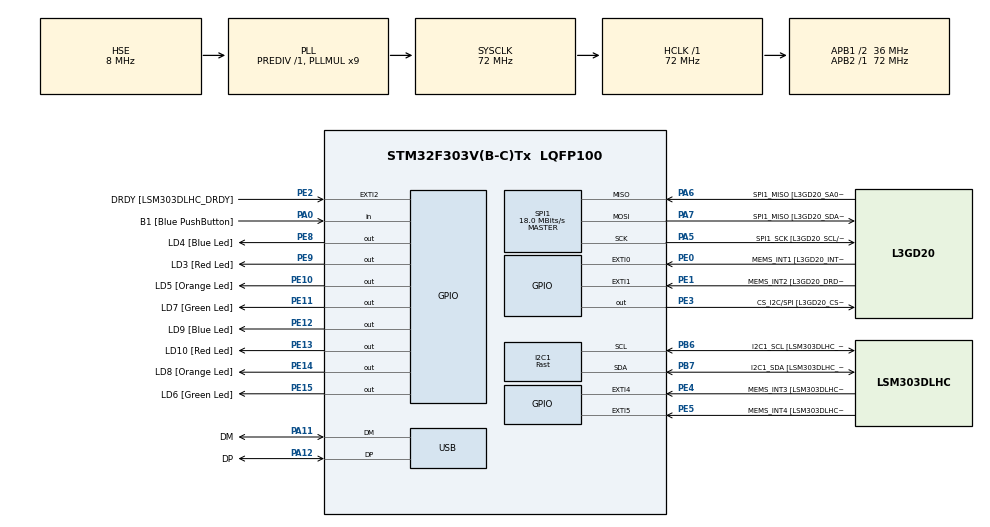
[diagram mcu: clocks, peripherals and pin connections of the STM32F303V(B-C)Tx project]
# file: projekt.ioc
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I2C1.I2C_Speed_Mode=I2C_Fast
I2C1.Timing=0x0000020B
I2C1.Timing-I2C=0x2000090E
Mcu.Family=STM32F3
Mcu.Name=STM32F303V(B-C)Tx
Mcu.Package=LQFP100
NVIC.PriorityGroup=NVIC_PRIORITYGROUP_0
NVIC.USB_LP_CAN_RX0_IRQn=true\:0\:0\:false\:false\:true\:false\:true
PA0.GPIO_Label=B1 [Blue PushButton]
PA0.Signal=GPIO_Input
PA11.GPIO_Label=DM
PA11.Mode=Device
PA11.Signal=USB_DM
PA12.GPIO_Label=DP
PA12.Mode=Device
PA12.Signal=USB_DP
PA13.GPIO_Label=SWDIO
PA13.Mode=Serial_Wire
PA13.Signal=SYS_JTMS-SWDIO
PA14.GPIO_Label=SWCLK
PA14.Mode=Serial_Wire
PA14.Signal=SYS_JTCK-SWCLK
PA5.GPIO_Label=SPI1_SCK [L3GD20_SCL/SPC]
PA5.Mode=Full_Duplex_Master
PA5.Signal=SPI1_SCK
PA6.GPIO_Label=SPI1_MISO [L3GD20_SA0/SDO]
PA6.Mode=Full_Duplex_Master
PA6.Signal=SPI1_MISO
PA7.GPIO_Label=SPI1_MISO [L3GD20_SDA/SDI/SDO]
PA7.Mode=Full_Duplex_Master
PA7.Signal=SPI1_MOSI
PB3.GPIO_Label=SWO
PB3.Signal=SYS_JTDO-TRACESWO
PB6.GPIO_Label=I2C1_SCL [LSM303DLHC_SCL]
PB6.Mode=I2C
PB6.Signal=I2C1_SCL
PB7.GPIO_Label=I2C1_SDA [LSM303DLHC_SDA]
PB7.Mode=I2C
PB7.Signal=I2C1_SDA
PC14-OSC32_IN.GPIO_Label=OSC32_IN
PC14-OSC32_IN.Signal=RCC_OSC32_IN
PC15-OSC32_OUT.GPIO_Label=OSC32_OUT
PC15-OSC32_OUT.Signal=RCC_OSC32_OUT
PE0.GPIO_Label=MEMS_INT1 [L3GD20_INT1]
PE0.GPIO_ModeDefaultEXTI=GPIO_MODE_EVT_RISING
PE0.Signal=GPXTI0
PE1.GPIO_Label=MEMS_INT2 [L3GD20_DRDY/INT2]
PE1.GPIO_ModeDefaultEXTI=GPIO_MODE_EVT_RISING
PE1.Signal=GPXTI1
PE10.GPIO_Label=LD5 [Orange Led]
PE10.Signal=GPIO_Output
PE11.GPIO_Label=LD7 [Green Led]
PE11.Signal=GPIO_Output
PE12.GPIO_Label=LD9 [Blue Led]
PE12.Signal=GPIO_Output
PE13.GPIO_Label=LD10 [Red Led]
PE13.Signal=GPIO_Output
PE14.GPIO_Label=LD8 [Orange Led]
PE14.Signal=GPIO_Output
PE15.GPIO_Label=LD6 [Green Led]
PE15.Signal=GPIO_Output
PE2.GPIO_Label=DRDY [LSM303DLHC_DRDY]
PE2.GPIO_ModeDefaultEXTI=GPIO_MODE_EVT_RISING
PE2.Signal=GPXTI2
PE3.GPIO_Label=CS_I2C/SPI [L3GD20_CS_I2C/SPI]
PE3.Signal=GPIO_Output
PE4.GPIO_Label=MEMS_INT3 [LSM303DLHC_INT1]
PE4.GPIO_ModeDefaultEXTI=GPIO_MODE_EVT_RISING
PE4.Signal=GPXTI4
PE5.GPIO_Label=MEMS_INT4 [LSM303DLHC_INT2]
PE5.GPIO_ModeDefaultEXTI=GPIO_MODE_EVT_RISING
PE5.Signal=GPXTI5
PE8.GPIO_Label=LD4 [Blue Led]
PE8.Signal=GPIO_Output
PE9.GPIO_Label=LD3 [Red Led]
PE9.Signal=GPIO_Output
PF0-OSC_IN.GPIO_Label=OSC_IN
PF0-OSC_IN.Mode=HSE-External-Clock-Source
PF0-OSC_IN.Signal=RCC_OSC_IN
PF1-OSC_OUT.GPIO_Label=OSC_OUT
PF1-OSC_OUT.Signal=RCC_OSC_OUT
ProjectManager.HeapSize=0x200
ProjectManager.StackSize=0x400
ProjectManager.TargetToolchain=STM32CubeIDE
RCC.AHBFreq_Value=72000000
RCC.APB1CLKDivider=RCC_HCLK_DIV2
RCC.APB1Freq_Value=36000000
RCC.APB1TimFreq_Value=72000000
RCC.APB2Freq_Value=72000000
RCC.APB2TimFreq_Value=72000000
RCC.CortexFreq_Value=72000000
RCC.HCLKFreq_Value=72000000
RCC.HSE_VALUE=8000000
RCC.HSI_VALUE=8000000
RCC.LSE_VALUE=32768
RCC.PLLMUL=RCC_PLL_MUL9
RCC.PRESCALERUSB=RCC_USBCLKSOURCE_PLL_DIV1_5
RCC.SYSCLKFreq_VALUE=72000000
RCC.SYSCLKSourceVirtual=RCC_SYSCLKSOURCE_PLLCLK
RCC.USBFreq_Value=48000000
SPI1.BaudRatePrescaler=SPI_BAUDRATEPRESCALER_4
SPI1.BaudRatePrescaler-Full_Duplex_Master=SPI_BAUDRATEPRESCALER_2
SPI1.CalculateBaudRate=18.0 MBits/s
SPI1.CalculateBaudRate-Full_Duplex_Master=24.0 MBits/s
SPI1.Direction=SPI_DIRECTION_2LINES
SPI1.Mode=SPI_MODE_MASTER
SPI1.Mode-Full_Duplex_Master=SPI_MODE_MASTER
SPI1.VirtualType=VM_MASTER
TIM3.Period=65535
TIM3.Prescaler=71
USB_DEVICE.CLASS_NAME_FS=CDC
USB_DEVICE.VirtualMode=Cdc
USB_DEVICE.VirtualModeFS=Cdc_FS
VP_TIM3_VS_ClockSourceINT.Mode=Internal
VP_USB_DEVICE_VS_USB_DEVICE_CDC_FS.Mode=CDC_FS
board=STM32F3DISCOVERY

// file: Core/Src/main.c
/* USER CODE BEGIN Header */
/**
  ******************************************************************************
  * @file           : main.c
  * @brief          : Main program body
  ******************************************************************************
  * @attention
  *
  * <h2><center>&copy; Copyright (c) 2021 STMicroelectronics.
  * All rights reserved.</center></h2>
  *
  * This software component is licensed by ST under BSD 3-Clause license,
  * the "License"; You may not use this file except in compliance with the
  * License. You may obtain a copy of the License at:
  *                        opensource.org/licenses/BSD-3-Clause
  *
  ******************************************************************************
  */
/* USER CODE END Header */
#include "main.h"
#include "usb_device.h"
#include "time.h"
/* USER CODE BEGIN Includes */
#include "usbd_cdc_if.h"
/* USER CODE END Includes */

I2C_HandleTypeDef hi2c1;

SPI_HandleTypeDef hspi1;

TIM_HandleTypeDef htim3;

void SystemClock_Config(void);
static void MX_GPIO_Init(void);
static void MX_I2C1_Init(void);
static void MX_SPI1_Init(void);
static void MX_TIM3_Init(void);
/* USER CODE BEGIN PFP */
uint8_t i2c1_pisiRegister(uint8_t, uint8_t, uint8_t);
void i2c1_beriRegistre(uint8_t, uint8_t, uint8_t*, uint8_t);
void initLSM303DLHC(void);

/* USER CODE END PFP */

/* USER CODE BEGIN 0 */

uint8_t i2c1_pisiRegister(uint8_t naprava, uint8_t reg, uint8_t podatek)
{
  naprava <<= 1;
  return HAL_I2C_Mem_Write(&hi2c1, naprava, reg, I2C_MEMADD_SIZE_8BIT, &podatek, 1, 10);
}

void i2c1_beriRegistre(uint8_t naprava, uint8_t reg, uint8_t* podatek, uint8_t dolzina)
{
  if ((dolzina>1)&&(naprava==0x19))  // ce je naprava 0x19 moramo postaviti ta bit, ce zelimo brati vec zlogov
    reg |= 0x80;
  naprava <<= 1;
  HAL_I2C_Mem_Read(&hi2c1, naprava, reg, I2C_MEMADD_SIZE_8BIT, podatek, dolzina, dolzina);
}

void initLSM303DLHC()
{
  HAL_Delay(10);

  // Za potrebe testa, moramo testni napravi sporociti kateri senzor imamo
  #define OLD_SENSOR 0x73 // Odkomentiramo za LSM303DLHC / stari senzor
  //#define NEW_SENSOR 0x6E // Odkomentiramo za LSM303AGR / novi senzor

  #if defined(OLD_SENSOR) && !defined(NEW_SENSOR)
  i2c1_pisiRegister(0x1e, 0x4F, OLD_SENSOR); // Povemo testni napravi, da imamo stari senzor
  #elif !defined(OLD_SENSOR) && defined(NEW_SENSOR)
  i2c1_pisiRegister(0x1e, 0x4F, NEW_SENSOR); // Povemo testni napravi, da imamo novi senzor
  #else
  for(;;); // V primeru napake, pocakamo tukaj
  #endif
  HAL_Delay(100);

  // inicializiraj pospeskometer
  i2c1_pisiRegister(0x19, 0x20, 0x27);  // zbudi pospeskometer in omogoci osi
  i2c1_pisiRegister(0x19, 0x23, 0x88);  // nastavi posodobitev samo ko se prebere vrednost ter visoko locljivost
}
/* USER CODE END PFP */

/* Private user code ---------------------------------------------------------*/
/* USER CODE BEGIN 0 */

/* USER CODE END 0 */

int main(void)
{

  /* MCU Configuration--------------------------------------------------------*/

  /* Reset of all peripherals, Initializes the Flash interface and the Systick. */
  HAL_Init();

  /* Configure the system clock */
  SystemClock_Config();

  /* Initialize all configured peripherals */
  MX_GPIO_Init();
  MX_I2C1_Init();
  MX_SPI1_Init();
  MX_USB_DEVICE_Init();
  MX_TIM3_Init();
  /* USER CODE BEGIN 2 */

  int compare(int X, int Y, int Z) {
      X = abs(X);
      Y = abs(Y);
      Z = abs(Z);
      if (X > Y) {
          if (X > Z) return 0;
      } else if (Y > Z) return 1;
      else return 2;

      return -1;
  }

  // zazenemo casovnik ter cakamo do preliva vrednosti
  HAL_TIM_Base_Start(&htim3);

  // pocistimo zastavico za preliv vrednosti
  __HAL_TIM_CLEAR_FLAG(&htim3, TIM_FLAG_UPDATE);

  __HAL_I2C_ENABLE(&hi2c1);

  int16_t meritev[4];
  meritev[0] = 0xaaab;// glava za zaznamek zacetek paketa

  char st = '2';
  int counter = 999;
  int counter2 = 0;
  int16_t pcounter1 = 0;
  int16_t pcounter2 = 0;
  double X;
  double Y;
  double Z;
  double mAccelCurrent;
  double mAccelLast;
  int temp;
  int numberOfBumps = 0;
  uint16_t tmp1;
  clock_t t;
  /* USER CODE END 2 */

  /* Infinite loop */
  /* USER CODE BEGIN WHILE */
  initLSM303DLHC();
  while (1)
  {
	  if(HAL_GPIO_ReadPin(GPIOA, GPIO_PIN_0)) {
		  HAL_Delay(500);
		  if (!HAL_GPIO_ReadPin(GPIOA, GPIO_PIN_0)) {
			  switch(counter2) {
				  case 0:
					  counter = 0;
					  counter2 = 1;
					  break;
				  case 1:
					  counter = 1;
					  counter2 = 0;
					  CDC_Transmit_FS(&numberOfBumps, 1);
					  break;
			  }
		  }
	  }
	  switch(counter) {
		  case 0:
			  HAL_GPIO_WritePin(GPIOE, GPIO_PIN_15, GPIO_PIN_SET);
			  meritev[1] = pcounter2; //stevilka paketa
			  i2c1_beriRegistre(0x19, 0x28,(uint8_t*)&meritev[2], 6); //enkrat klicem, shrani v vse meritev[2], meritev[3] in meritev [4]
			  	  	  	  	  	  	  	  	  	  	  	  	  	  	  //dolzina je 2 zato, ker beremo 2 po 2 (0x28, 0x2A, 0x2B) - razlika med njimi je 2
			  X = (double)meritev[2]*8/65535;
			  Y = (double)meritev[3]*8/65535;
			  Z = (double)meritev[4]*8/65535;
	          //trenutno vrednost pospeškometra shranim v mAccelLast
	          mAccelLast = mAccelCurrent;
	          //izračunam trenutno vrednost pospeškometra
	          mAccelCurrent = sqrt(pow(X, 2) + pow(Y, 2) + pow(Z, 2));
	          temp = compare((int) X, (int) Y, (int) Z);
	          if (temp == 0) {
	        	  if ((mAccelLast - mAccelCurrent) > 0.33) {
	        		  HAL_GPIO_WritePin(GPIOE, GPIO_PIN_9, GPIO_PIN_SET);
	        		  HAL_GPIO_WritePin(GPIOE, GPIO_PIN_11, GPIO_PIN_RESET);
	        		  HAL_GPIO_WritePin(GPIOE, GPIO_PIN_13, GPIO_PIN_RESET);
	        		  numberOfBumps++;
	        	  }
	          } else if (temp == 1) {
	        	  if ((mAccelLast - mAccelCurrent) > 0.33) {
	        		  HAL_GPIO_WritePin(GPIOE, GPIO_PIN_9, GPIO_PIN_RESET);
	        		  HAL_GPIO_WritePin(GPIOE, GPIO_PIN_11, GPIO_PIN_SET);
	        		  HAL_GPIO_WritePin(GPIOE, GPIO_PIN_13, GPIO_PIN_RESET);
	        		  numberOfBumps++;
	        	  }
	          } else if (temp == 2) {
	        	  if ((mAccelLast - mAccelCurrent) > 0.33) {
	        		  HAL_GPIO_WritePin(GPIOE, GPIO_PIN_9, GPIO_PIN_RESET);
	        		  HAL_GPIO_WritePin(GPIOE, GPIO_PIN_11, GPIO_PIN_RESET);
	        		  HAL_GPIO_WritePin(GPIOE, GPIO_PIN_13, GPIO_PIN_SET);
	        		  numberOfBumps++;
	        	  }
			  }
			  //char vrniAscii[125];
			  //sprintf(vrniAscii, "{\"ACC\":%i, \"X\":%.3f, \"Y\":%.3f, \"Z\":%.3f}\n\r", (int)pcounter2, (double)meritev[2]*8/65535, (double)meritev[3]*8/65535, (double)meritev[4]*8/65535);
			  //CDC_Transmit_FS(&vrniAscii, strlen(vrniAscii));
			  pcounter2++;
			  break;
		  case 1:
			  HAL_GPIO_WritePin(GPIOE, GPIO_PIN_15, GPIO_PIN_RESET);
			  HAL_GPIO_WritePin(GPIOE, GPIO_PIN_9, GPIO_PIN_RESET);
			  HAL_GPIO_WritePin(GPIOE, GPIO_PIN_11, GPIO_PIN_RESET);
			  HAL_GPIO_WritePin(GPIOE, GPIO_PIN_13, GPIO_PIN_RESET);
			  pcounter2 = 0 ;
	          mAccelLast = 0;
	          mAccelCurrent = 0;
	          numberOfBumps = 0;
			  break;
	  }
    /* USER CODE END WHILE */

  }
}

void SystemClock_Config(void)
{
  RCC_OscInitTypeDef RCC_OscInitStruct = {0};
  RCC_ClkInitTypeDef RCC_ClkInitStruct = {0};
  RCC_PeriphCLKInitTypeDef PeriphClkInit = {0};

  /** Initializes the RCC Oscillators according to the specified parameters
  * in the RCC_OscInitTypeDef structure.
  */
  RCC_OscInitStruct.OscillatorType = RCC_OSCILLATORTYPE_HSI|RCC_OSCILLATORTYPE_HSE;
  RCC_OscInitStruct.HSEState = RCC_HSE_BYPASS;
  RCC_OscInitStruct.HSEPredivValue = RCC_HSE_PREDIV_DIV1;
  RCC_OscInitStruct.HSIState = RCC_HSI_ON;
  RCC_OscInitStruct.HSICalibrationValue = RCC_HSICALIBRATION_DEFAULT;
  RCC_OscInitStruct.PLL.PLLState = RCC_PLL_ON;
  RCC_OscInitStruct.PLL.PLLSource = RCC_PLLSOURCE_HSE;
  RCC_OscInitStruct.PLL.PLLMUL = RCC_PLL_MUL9;
  if (HAL_RCC_OscConfig(&RCC_OscInitStruct) != HAL_OK)
  {
    Error_Handler();
  }
  /** Initializes the CPU, AHB and APB buses clocks
  */
  RCC_ClkInitStruct.ClockType = RCC_CLOCKTYPE_HCLK|RCC_CLOCKTYPE_SYSCLK
                              |RCC_CLOCKTYPE_PCLK1|RCC_CLOCKTYPE_PCLK2;
  RCC_ClkInitStruct.SYSCLKSource = RCC_SYSCLKSOURCE_PLLCLK;
  RCC_ClkInitStruct.AHBCLKDivider = RCC_SYSCLK_DIV1;
  RCC_ClkInitStruct.APB1CLKDivider = RCC_HCLK_DIV2;
  RCC_ClkInitStruct.APB2CLKDivider = RCC_HCLK_DIV1;

  if (HAL_RCC_ClockConfig(&RCC_ClkInitStruct, FLASH_LATENCY_2) != HAL_OK)
  {
    Error_Handler();
  }
  PeriphClkInit.PeriphClockSelection = RCC_PERIPHCLK_USB|RCC_PERIPHCLK_I2C1;
  PeriphClkInit.I2c1ClockSelection = RCC_I2C1CLKSOURCE_HSI;
  PeriphClkInit.USBClockSelection = RCC_USBCLKSOURCE_PLL_DIV1_5;
  if (HAL_RCCEx_PeriphCLKConfig(&PeriphClkInit) != HAL_OK)
  {
    Error_Handler();
  }
}

static void MX_I2C1_Init(void)
{

  hi2c1.Instance = I2C1;
  hi2c1.Init.Timing = 0x0000020B;
  hi2c1.Init.OwnAddress1 = 0;
  hi2c1.Init.AddressingMode = I2C_ADDRESSINGMODE_7BIT;
  hi2c1.Init.DualAddressMode = I2C_DUALADDRESS_DISABLE;
  hi2c1.Init.OwnAddress2 = 0;
  hi2c1.Init.OwnAddress2Masks = I2C_OA2_NOMASK;
  hi2c1.Init.GeneralCallMode = I2C_GENERALCALL_DISABLE;
  hi2c1.Init.NoStretchMode = I2C_NOSTRETCH_DISABLE;
  if (HAL_I2C_Init(&hi2c1) != HAL_OK)
  {
    Error_Handler();
  }
  /** Configure Analogue filter
  */
  if (HAL_I2CEx_ConfigAnalogFilter(&hi2c1, I2C_ANALOGFILTER_ENABLE) != HAL_OK)
  {
    Error_Handler();
  }
  /** Configure Digital filter
  */
  if (HAL_I2CEx_ConfigDigitalFilter(&hi2c1, 0) != HAL_OK)
  {
    Error_Handler();
  }

}

static void MX_SPI1_Init(void)
{

  /* SPI1 parameter configuration*/
  hspi1.Instance = SPI1;
  hspi1.Init.Mode = SPI_MODE_MASTER;
  hspi1.Init.Direction = SPI_DIRECTION_2LINES;
  hspi1.Init.DataSize = SPI_DATASIZE_4BIT;
  hspi1.Init.CLKPolarity = SPI_POLARITY_LOW;
  hspi1.Init.CLKPhase = SPI_PHASE_1EDGE;
  hspi1.Init.NSS = SPI_NSS_SOFT;
  hspi1.Init.BaudRatePrescaler = SPI_BAUDRATEPRESCALER_4;
  hspi1.Init.FirstBit = SPI_FIRSTBIT_MSB;
  hspi1.Init.TIMode = SPI_TIMODE_DISABLE;
  hspi1.Init.CRCCalculation = SPI_CRCCALCULATION_DISABLE;
  hspi1.Init.CRCPolynomial = 7;
  hspi1.Init.CRCLength = SPI_CRC_LENGTH_DATASIZE;
  hspi1.Init.NSSPMode = SPI_NSS_PULSE_ENABLE;
  if (HAL_SPI_Init(&hspi1) != HAL_OK)
  {
    Error_Handler();
  }

}

static void MX_TIM3_Init(void)
{

  TIM_ClockConfigTypeDef sClockSourceConfig = {0};
  TIM_MasterConfigTypeDef sMasterConfig = {0};

  htim3.Instance = TIM3;
  htim3.Init.Prescaler = 71;
  htim3.Init.CounterMode = TIM_COUNTERMODE_UP;
  htim3.Init.Period = 65535;
  htim3.Init.ClockDivision = TIM_CLOCKDIVISION_DIV1;
  htim3.Init.AutoReloadPreload = TIM_AUTORELOAD_PRELOAD_DISABLE;
  if (HAL_TIM_Base_Init(&htim3) != HAL_OK)
  {
    Error_Handler();
  }
  sClockSourceConfig.ClockSource = TIM_CLOCKSOURCE_INTERNAL;
  if (HAL_TIM_ConfigClockSource(&htim3, &sClockSourceConfig) != HAL_OK)
  {
    Error_Handler();
  }
  sMasterConfig.MasterOutputTrigger = TIM_TRGO_RESET;
  sMasterConfig.MasterSlaveMode = TIM_MASTERSLAVEMODE_DISABLE;
  if (HAL_TIMEx_MasterConfigSynchronization(&htim3, &sMasterConfig) != HAL_OK)
  {
    Error_Handler();
  }

}

static void MX_GPIO_Init(void)
{
  GPIO_InitTypeDef GPIO_InitStruct = {0};

  /* GPIO Ports Clock Enable */
  __HAL_RCC_GPIOE_CLK_ENABLE();
  __HAL_RCC_GPIOC_CLK_ENABLE();
  __HAL_RCC_GPIOF_CLK_ENABLE();
  __HAL_RCC_GPIOA_CLK_ENABLE();
  __HAL_RCC_GPIOB_CLK_ENABLE();

  /*Configure GPIO pin Output Level */
  HAL_GPIO_WritePin(GPIOE, CS_I2C_SPI_Pin|LD4_Pin|LD3_Pin|LD5_Pin
                          |LD7_Pin|LD9_Pin|LD10_Pin|LD8_Pin
                          |LD6_Pin, GPIO_PIN_RESET);

  /*Configure GPIO pins : DRDY_Pin MEMS_INT3_Pin MEMS_INT4_Pin MEMS_INT1_Pin
                           MEMS_INT2_Pin */
  GPIO_InitStruct.Pin = DRDY_Pin|MEMS_INT3_Pin|MEMS_INT4_Pin|MEMS_INT1_Pin
                          |MEMS_INT2_Pin;
  GPIO_InitStruct.Mode = GPIO_MODE_EVT_RISING;
  GPIO_InitStruct.Pull = GPIO_NOPULL;
  HAL_GPIO_Init(GPIOE, &GPIO_InitStruct);

  /*Configure GPIO pins : CS_I2C_SPI_Pin LD4_Pin LD3_Pin LD5_Pin
                           LD7_Pin LD9_Pin LD10_Pin LD8_Pin
                           LD6_Pin */
  GPIO_InitStruct.Pin = CS_I2C_SPI_Pin|LD4_Pin|LD3_Pin|LD5_Pin
                          |LD7_Pin|LD9_Pin|LD10_Pin|LD8_Pin
                          |LD6_Pin;
  GPIO_InitStruct.Mode = GPIO_MODE_OUTPUT_PP;
  GPIO_InitStruct.Pull = GPIO_NOPULL;
  GPIO_InitStruct.Speed = GPIO_SPEED_FREQ_LOW;
  HAL_GPIO_Init(GPIOE, &GPIO_InitStruct);

  /*Configure GPIO pin : B1_Pin */
  GPIO_InitStruct.Pin = B1_Pin;
  GPIO_InitStruct.Mode = GPIO_MODE_INPUT;
  GPIO_InitStruct.Pull = GPIO_NOPULL;
  HAL_GPIO_Init(B1_GPIO_Port, &GPIO_InitStruct);

}

void Error_Handler(void)
{
}

/************************ (C) COPYRIGHT STMicroelectronics *****END OF FILE****/
